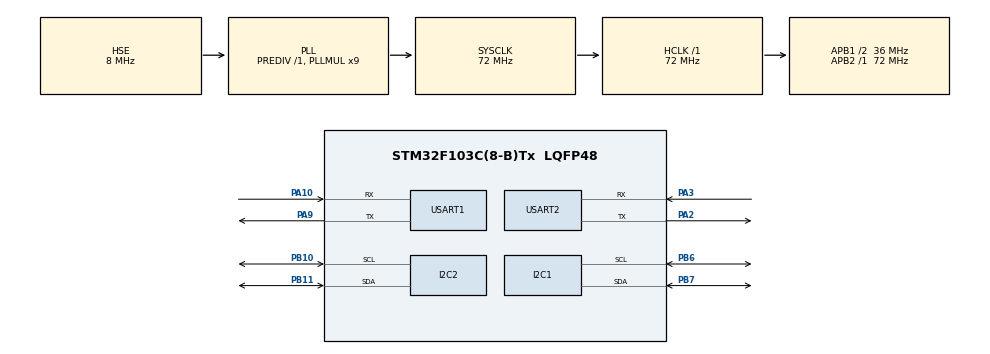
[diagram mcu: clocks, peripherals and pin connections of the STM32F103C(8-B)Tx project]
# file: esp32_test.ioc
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Mcu.Family=STM32F1
Mcu.Name=STM32F103C(8-B)Tx
Mcu.Package=LQFP48
NVIC.PriorityGroup=NVIC_PRIORITYGROUP_4
PA10.Mode=Asynchronous
PA10.Signal=USART1_RX
PA13.Mode=Serial_Wire
PA13.Signal=SYS_JTMS-SWDIO
PA14.Mode=Serial_Wire
PA14.Signal=SYS_JTCK-SWCLK
PA2.Mode=Asynchronous
PA2.Signal=USART2_TX
PA3.Mode=Asynchronous
PA3.Signal=USART2_RX
PA9.Mode=Asynchronous
PA9.Signal=USART1_TX
PB10.Mode=I2C
PB10.Signal=I2C2_SCL
PB11.Mode=I2C
PB11.Signal=I2C2_SDA
PB6.Mode=I2C
PB6.Signal=I2C1_SCL
PB7.Mode=I2C
PB7.Signal=I2C1_SDA
PD0-OSC_IN.Mode=HSE-External-Oscillator
PD0-OSC_IN.Signal=RCC_OSC_IN
PD1-OSC_OUT.Mode=HSE-External-Oscillator
PD1-OSC_OUT.Signal=RCC_OSC_OUT
ProjectManager.HeapSize=0x200
ProjectManager.StackSize=0x400
ProjectManager.TargetToolchain=CMake
RCC.AHBFreq_Value=72000000
RCC.APB1CLKDivider=RCC_HCLK_DIV2
RCC.APB1Freq_Value=36000000
RCC.APB1TimFreq_Value=72000000
RCC.APB2Freq_Value=72000000
RCC.APB2TimFreq_Value=72000000
RCC.HCLKFreq_Value=72000000
RCC.PLLMUL=RCC_PLL_MUL9
RCC.PLLSourceVirtual=RCC_PLLSOURCE_HSE
RCC.SYSCLKFreq_VALUE=72000000
RCC.SYSCLKSource=RCC_SYSCLKSOURCE_PLLCLK
RCC.USBFreq_Value=72000000
USART1.VirtualMode=VM_ASYNC
USART2.VirtualMode=VM_ASYNC
board=custom

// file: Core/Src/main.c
/* USER CODE BEGIN Header */
/**
  ******************************************************************************
  * @file           : main.c
  * @brief          : Main program body
  ******************************************************************************
  * @attention
  *
  * Copyright (c) 2026 STMicroelectronics.
  * All rights reserved.
  *
  * This software is licensed under terms that can be found in the LICENSE file
  * in the root directory of this software component.
  * If no LICENSE file comes with this software, it is provided AS-IS.
  *
  ******************************************************************************
  */
/* USER CODE END Header */
#include "main.h"
#include "i2c.h"
#include "usart.h"
#include "gpio.h"

/* USER CODE BEGIN Includes */
#include <stdio.h>
#include <string.h>
#include <math.h>
#include "ssd1306.h"
#include "mpu6050.h"
/* USER CODE END Includes */

/* USER CODE BEGIN PD */

/* ?????: ? server/firmware/stm32_version.json ???? */
#define APP_VERSION_STR  "1.2.0"

/* USER CODE END PD */

/* USER CODE BEGIN PV */
static SSD1306_t g_oled;
static MPU6050_t g_mpu;
/* USER CODE END PV */

void SystemClock_Config(void);

/* USER CODE BEGIN 0 */

static void oled_print_8lines(const char *lines[8])
{
  if (!g_oled.present) return;
  SSD1306_Clear(&g_oled);
  for (uint8_t i = 0; i < 8; i++) {
    if (lines[i] && lines[i][0] != '\0') {
      SSD1306_DrawString6x8(&g_oled, 1, (uint8_t)(i * 8), lines[i]);
    }
  }
  SSD1306_Update(&g_oled);
}

static void init_peripherals(void)
{
  /* 1. OLED 初始化 (I2C1: PB6=SCL, PB7=SDA) */
  g_oled.hi2c = &hi2c1;
  HAL_Delay(50);
  if (SSD1306_Probe(&g_oled)) {
    g_oled.present = 1;
    SSD1306_Init(&g_oled);
    static char msg[48];
    snprintf(msg, sizeof(msg), "[OLED] found @0x%02X (hw-i2c1)\r\n", g_oled.addr);
    HAL_UART_Transmit(&huart1, (uint8_t *)msg, strlen(msg), 1000);
  } else {
    g_oled.present = 0;
    static const char msg[] = "[OLED] not found on I2C1 (PB6/PB7)\r\n";
    HAL_UART_Transmit(&huart1, (uint8_t *)msg, sizeof(msg) - 1, 1000);
  }

  /* 2. MPU6050 初始化 (I2C2: PB10=SCL, PB11=SDA) */
  g_mpu.hi2c = &hi2c2;
  HAL_Delay(50);
  if (MPU6050_Probe(&g_mpu)) {
    static char msg[64];
    snprintf(msg, sizeof(msg), "[MPU6050] found @0x%02X (hw-i2c2), initializing...\r\n", g_mpu.addr);
    HAL_UART_Transmit(&huart1, (uint8_t *)msg, strlen(msg), 1000);

    const char *calib_info[8] = {
      "-- MPU6050 v" APP_VERSION_STR " --",
      "",
      "  Calibrating Gyro...",
      "  Keep board still",
      "",
      "  Samples: 100",
      "  Please wait...",
      ""
    };
    oled_print_8lines(calib_info);

    if (MPU6050_Init(&g_mpu) == HAL_OK) {
      MPU6050_CalibrateGyro(&g_mpu, 100);
      snprintf(msg, sizeof(msg), "[MPU6050] Gyro bias: X=%.1f Y=%.1f Z=%.1f\r\n",
               g_mpu.gyro_bias_x, g_mpu.gyro_bias_y, g_mpu.gyro_bias_z);
      HAL_UART_Transmit(&huart1, (uint8_t *)msg, strlen(msg), 1000);
    }
  } else {
    static const char msg[] = "[MPU6050] not found on I2C2 (PB10/PB11)\r\n";
    HAL_UART_Transmit(&huart1, (uint8_t *)msg, sizeof(msg) - 1, 1000);
    const char *err_info[8] = {
      "-- MPU6050 v" APP_VERSION_STR " --",
      "",
      " [ERROR] Sensor Missing",
      " Check I2C2 Wiring:",
      " - SCL -> PB10",
      " - SDA -> PB11",
      "",
      " Retrying..."
    };
    oled_print_8lines(err_info);
  }
}

/* USER CODE END 0 */

int main(void)
{

  /* MCU Configuration--------------------------------------------------------*/

  /* Reset of all peripherals, Initializes the Flash interface and the Systick. */
  HAL_Init();

  /* Configure the system clock */
  SystemClock_Config();

  /* Initialize all configured peripherals */
  MX_GPIO_Init();
  MX_USART1_UART_Init();
  MX_I2C1_Init();
  MX_USART2_UART_Init();
  MX_I2C2_Init();
  /* USER CODE BEGIN 2 */

  {
    static uint8_t banner[] =
        "\r\n[STM32 esp32_test] APP v" APP_VERSION_STR " boot\r\n";
    HAL_UART_Transmit(&huart1, banner, sizeof(banner) - 1, 1000);
  }

  init_peripherals();

  /* USER CODE END 2 */

  /* Infinite loop */
  /* USER CODE BEGIN WHILE */
  uint32_t last_oled_tick = 0;
  uint32_t last_uart_tick = 0;
  uint32_t last_probe_tick = 0;

  while (1)
  {
    /* USER CODE END WHILE */

    /* USER CODE BEGIN 3 */
    uint32_t now = HAL_GetTick();

    if (!g_mpu.present) {
      /* 若启动时未检测到传感器，每隔 1000ms 尝试重新探测 */
      if (now - last_probe_tick >= 1000) {
        last_probe_tick = now;
        if (MPU6050_Probe(&g_mpu)) {
          init_peripherals();
        }
      }
      HAL_Delay(50);
      continue;
    }

    /* 1. 读取 MPU6050 传感器数据并执行互补滤波姿态解算 */
    if (MPU6050_Update(&g_mpu) != HAL_OK) {
      HAL_Delay(10);
      continue;
    }

    /* 2. 刷新 OLED 屏幕 (每 50ms / 20Hz, 8 行 6x8 紧凑字模，无截断) */
    if (now - last_oled_tick >= 50) {
      last_oled_tick = now;

      char l[8][24];
      snprintf(l[0], sizeof(l[0]), "-- MPU6050 v%s --", APP_VERSION_STR);
      snprintf(l[1], sizeof(l[1]), "Roll : %+6.1f deg", g_mpu.roll);
      snprintf(l[2], sizeof(l[2]), "Pitch: %+6.1f deg", g_mpu.pitch);
      snprintf(l[3], sizeof(l[3]), "Yaw  : %+6.1f deg", g_mpu.yaw);
      snprintf(l[4], sizeof(l[4]), "A:%+.2f %+.2f %+.2f", g_mpu.ax, g_mpu.ay, g_mpu.az);
      snprintf(l[5], sizeof(l[5]), "G:%+4.0f %+4.0f %+4.0f", g_mpu.gx, g_mpu.gy, g_mpu.gz);
      snprintf(l[6], sizeof(l[6]), "Temp : %4.1f C", g_mpu.temp_c);
      snprintf(l[7], sizeof(l[7]), "I2C2 : 0x%02X [ONLINE]", g_mpu.addr);

      const char *ptrs[8] = {l[0], l[1], l[2], l[3], l[4], l[5], l[6], l[7]};
      oled_print_8lines(ptrs);
    }

    /* 3. 输出串口遥测日志到 USART1 (每 200ms / 5Hz) */
    if (now - last_uart_tick >= 200) {
      last_uart_tick = now;
      static char tele_buf[128];
      int n = snprintf(tele_buf, sizeof(tele_buf),
               "[MPU] R:%+6.2f | P:%+6.2f | Y:%+6.2f | T:%4.1fC | Ax:%+5.2f Ay:%+5.2f Az:%+5.2f\r\n",
               g_mpu.roll, g_mpu.pitch, g_mpu.yaw, g_mpu.temp_c,
               g_mpu.ax, g_mpu.ay, g_mpu.az);
      if (n > 0) {
        HAL_UART_Transmit(&huart1, (uint8_t *)tele_buf, (uint16_t)n, 100);
      }
    }

    HAL_Delay(10); /* ~100Hz 解算主循环 */
  }
  /* USER CODE END 3 */
}

void SystemClock_Config(void)
{
  RCC_OscInitTypeDef RCC_OscInitStruct = {0};
  RCC_ClkInitTypeDef RCC_ClkInitStruct = {0};

  /** Initializes the RCC Oscillators according to the specified parameters
  * in the RCC_OscInitTypeDef structure.
  */
  RCC_OscInitStruct.OscillatorType = RCC_OSCILLATORTYPE_HSE;
  RCC_OscInitStruct.HSEState = RCC_HSE_ON;
  RCC_OscInitStruct.HSEPredivValue = RCC_HSE_PREDIV_DIV1;
  RCC_OscInitStruct.HSIState = RCC_HSI_ON;
  RCC_OscInitStruct.PLL.PLLState = RCC_PLL_ON;
  RCC_OscInitStruct.PLL.PLLSource = RCC_PLLSOURCE_HSE;
  RCC_OscInitStruct.PLL.PLLMUL = RCC_PLL_MUL9;
  if (HAL_RCC_OscConfig(&RCC_OscInitStruct) != HAL_OK)
  {
    Error_Handler();
  }

  /** Initializes the CPU, AHB and APB buses clocks
  */
  RCC_ClkInitStruct.ClockType = RCC_CLOCKTYPE_HCLK|RCC_CLOCKTYPE_SYSCLK
                              |RCC_CLOCKTYPE_PCLK1|RCC_CLOCKTYPE_PCLK2;
  RCC_ClkInitStruct.SYSCLKSource = RCC_SYSCLKSOURCE_PLLCLK;
  RCC_ClkInitStruct.AHBCLKDivider = RCC_SYSCLK_DIV1;
  RCC_ClkInitStruct.APB1CLKDivider = RCC_HCLK_DIV2;
  RCC_ClkInitStruct.APB2CLKDivider = RCC_HCLK_DIV1;

  if (HAL_RCC_ClockConfig(&RCC_ClkInitStruct, FLASH_LATENCY_2) != HAL_OK)
  {
    Error_Handler();
  }
}

void Error_Handler(void)
{
  __disable_irq();
  while (1)
  {
  }
}
